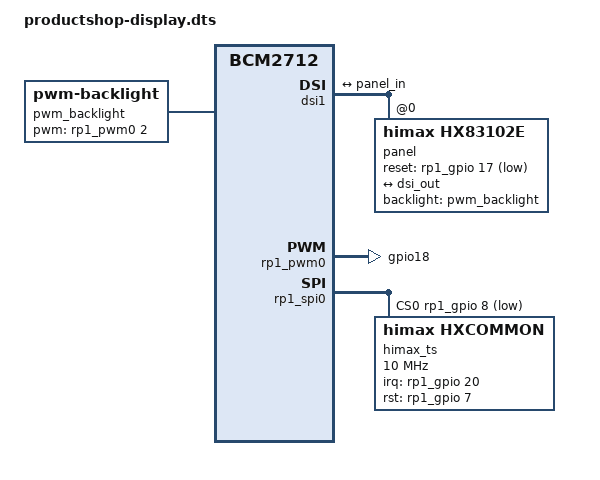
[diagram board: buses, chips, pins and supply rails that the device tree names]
/dts-v1/;
/plugin/;

/{
    compatible = "brcm,bcm2712";

    // DSI Display Configuration
    dsi_frag: fragment@0 {
        target = <&dsi1>;
        __overlay__ {
            #address-cells = <1>;
            #size-cells = <0>;
            status = "okay";
            
            port {
                dsi_out: endpoint {
                    remote-endpoint = <&panel_in>;
                };
            };
            
            // ProductShop Himax HX83102E Panel - using kernel driver
            panel@0 {
                compatible = "himax,hx83102e";
                reg = <0>;  // DSI virtual channel
                
                // LCD reset pin according to ProductShop pinout  
                reset-gpios = <&rp1_gpio 17 1>;  // GPIO17 (LCD_RESET), active low (1 = inverted)
                
                // Backlight reference
                backlight = <&pwm_backlight>;
                
                // Physical dimensions for ProductShop 12" display
                width-mm = <135>;
                height-mm = <216>;
                
                port {
                    panel_in: endpoint {
                        remote-endpoint = <&dsi_out>;
                    };
                };
            };
        };
    };

    // Free GPIO7 from SPI CS1 usage
    fragment@1 {
        target = <&rp1_gpio>;
        __overlay__ {
            // Explicitly configure GPIO7 as general purpose before SPI claims it
            gpio7_touch_reset: gpio7_touch_reset {
                brcm,pins = <7>;
                brcm,function = <1>;  // Output
                brcm,pull = <0>;      // No pull
            };
        };
    };


    // GPIO Pin Configuration
    fragment@3 {
        target = <&rp1_gpio>;
        __overlay__ {
            // Display GPIO pins
            lcd_reset_pins: lcd_reset_pins {
                brcm,pins = <17>;     // GPIO17 (LCD_RESET)
                brcm,function = <1>;  // Output
                brcm,pull = <0>;      // No pull
            };
            
            pwm_pins: pwm_pins {
                pins = "gpio18";
                function = "pwm0";
            };
            
            
            // Touch GPIO pins
            touch_irq_pins: touch_irq_pins {
                brcm,pins = <20>;         // Touch interrupt GPIO20
                brcm,function = <0>;      // Input
                brcm,pull = <2>;          // Pull-up
            };
            
            touch_reset_pins: touch_reset_pins {
                brcm,pins = <7>;          // Touch reset GPIO7 (LCD_TOUCH_RST)
                brcm,function = <1>;      // Output
                brcm,pull = <0>;          // No pull
            };
        };
    };

    // PWM Configuration for Backlight
    fragment@4 {
        target = <&rp1_pwm0>;
        __overlay__ {
            pinctrl-names = "default";
            pinctrl-0 = <&pwm_pins>;
            status = "okay";
        };
    };


    // Backlight Device
    fragment@6 {
        target-path = "/";
        __overlay__ {
            pwm_backlight: backlight {
                compatible = "pwm-backlight";
                pwms = <&rp1_pwm0 2 25000 0>;
                brightness-levels = <0 4 8 16 32 48 64 96 128 160 192 224 240 255>;
                default-brightness-level = <10>;
                status = "okay";
            };
        };
    };

    // Disable power button to free GPIO20 for touch interrupt
    fragment@8 {
        target-path = "/pwr_button";
        __overlay__ {
            status = "disabled";
        };
    };

    // SPI Touch Device Configuration - Configure RP1 SPI0 (same as spi0-1cs approach)
    fragment@9 {
        target = <&rp1_spi0>;
        __overlay__ {
            #address-cells = <1>;
            #size-cells = <0>;
            status = "okay";
            cs-gpios = <&rp1_gpio 8 1>;  // Configure CS0 on GPIO8, active low (like spi0-1cs)
            
            himax_ts: himax_ts@0 {
                compatible = "himax,hxcommon";
                reg = <0>;  // Use chipselect 0
                spi-max-frequency = <10000000>;
                himax,panel-coords = <0 1200 0 2000>;
                himax,display-coords = <0 1200 0 2000>;
                himax,irq-gpio = <&rp1_gpio 20 0x2008>;
                himax,rst-gpio = <&rp1_gpio 7 0x00>;
                interrupt-parent = <&rp1_gpio>;
                interrupts = <20 0x2008>;
                status = "okay";
            };
        };
    };

    // Disable conflicting spidev device on RP1 SPI using proper path
    spidev_fragment: fragment@10 {
        target-path = "/axi/pcie@120000/rp1/spi@50000/spidev@0";
        __overlay__ {
            status = "disabled";
        };
    };

    __overrides__ {
        // DSI overrides
        dsi0 = <&dsi_frag>, "target:0=",<&dsi0>;
        
    };
};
